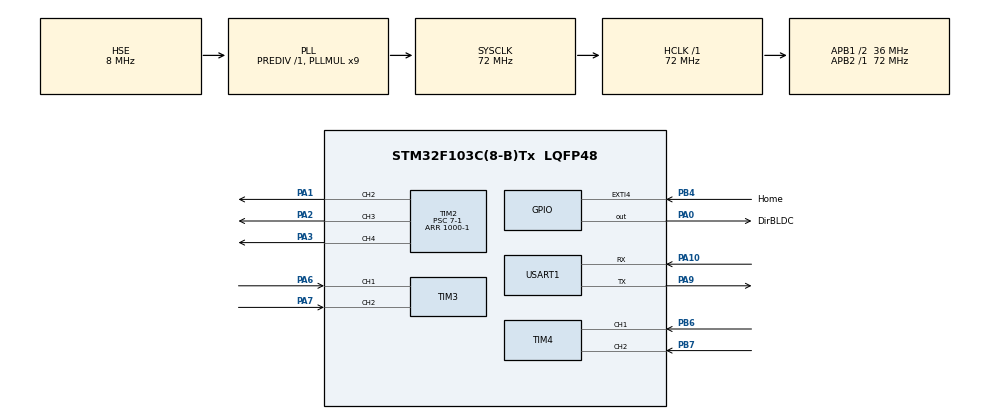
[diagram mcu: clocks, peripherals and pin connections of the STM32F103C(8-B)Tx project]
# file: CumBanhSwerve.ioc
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Dma.Request0=USART1_RX
Dma.USART1_RX.0.Direction=DMA_PERIPH_TO_MEMORY
Dma.USART1_RX.0.Instance=DMA1_Channel5
Dma.USART1_RX.0.MemDataAlignment=DMA_MDATAALIGN_BYTE
Dma.USART1_RX.0.MemInc=DMA_MINC_ENABLE
Dma.USART1_RX.0.Mode=DMA_NORMAL
Dma.USART1_RX.0.PeriphDataAlignment=DMA_PDATAALIGN_BYTE
Dma.USART1_RX.0.PeriphInc=DMA_PINC_DISABLE
Dma.USART1_RX.0.Priority=DMA_PRIORITY_LOW
FREERTOS.Tasks01=CalPIDDC,1,128,StartCalPIDDC,Default,NULL,Dynamic,NULL,NULL;CalPIDBLDC,-1,128,StartCalPIDBLDC,Default,NULL,Dynamic,NULL,NULL;LogicControl,0,128,StartLogicControl,Default,NULL,Dynamic,NULL,NULL
Mcu.Family=STM32F1
Mcu.Name=STM32F103C(8-B)Tx
Mcu.Package=LQFP48
NVIC.DMA1_Channel5_IRQn=true\:5\:0\:false\:false\:true\:true\:false\:true\:true
NVIC.EXTI4_IRQn=true\:5\:0\:false\:false\:true\:false\:true\:true\:true
NVIC.PriorityGroup=NVIC_PRIORITYGROUP_4
NVIC.TIM1_UP_IRQn=true\:15\:0\:false\:false\:true\:false\:true\:true\:true
NVIC.TimeBase=TIM1_UP_IRQn
NVIC.TimeBaseIP=TIM1
NVIC.USART1_IRQn=true\:5\:0\:false\:false\:true\:true\:true\:true\:true
PA0-WKUP.GPIO_Label=DirBLDC
PA0-WKUP.Signal=GPIO_Output
PA1.Signal=S_TIM2_CH2
PA10.Mode=Asynchronous
PA10.Signal=USART1_RX
PA13.Mode=Serial_Wire
PA13.Signal=SYS_JTMS-SWDIO
PA14.Mode=Serial_Wire
PA14.Signal=SYS_JTCK-SWCLK
PA2.Signal=S_TIM2_CH3
PA3.Signal=S_TIM2_CH4
PA6.Signal=S_TIM3_CH1
PA7.Signal=S_TIM3_CH2
PA9.Mode=Asynchronous
PA9.Signal=USART1_TX
PB4.GPIO_Label=Home
PB4.GPIO_ModeDefaultEXTI=GPIO_MODE_IT_RISING
PB4.GPIO_PuPd=GPIO_PULLUP
PB4.Signal=GPXTI4
PB6.Signal=S_TIM4_CH1
PB7.Signal=S_TIM4_CH2
PD0-OSC_IN.Mode=HSE-External-Oscillator
PD0-OSC_IN.Signal=RCC_OSC_IN
PD1-OSC_OUT.Mode=HSE-External-Oscillator
PD1-OSC_OUT.Signal=RCC_OSC_OUT
ProjectManager.HeapSize=0x200
ProjectManager.StackSize=0x400
ProjectManager.TargetToolchain=STM32CubeIDE
RCC.AHBFreq_Value=72000000
RCC.APB1CLKDivider=RCC_HCLK_DIV2
RCC.APB1Freq_Value=36000000
RCC.APB1TimFreq_Value=72000000
RCC.APB2Freq_Value=72000000
RCC.APB2TimFreq_Value=72000000
RCC.HCLKFreq_Value=72000000
RCC.PLLMUL=RCC_PLL_MUL9
RCC.PLLSourceVirtual=RCC_PLLSOURCE_HSE
RCC.SYSCLKFreq_VALUE=72000000
RCC.SYSCLKSource=RCC_SYSCLKSOURCE_PLLCLK
RCC.USBFreq_Value=72000000
SH.S_TIM2_CH2.0=TIM2_CH2,PWM Generation2 CH2
SH.S_TIM2_CH3.0=TIM2_CH3,PWM Generation3 CH3
SH.S_TIM2_CH4.0=TIM2_CH4,PWM Generation4 CH4
SH.S_TIM3_CH1.0=TIM3_CH1,Encoder_Interface
SH.S_TIM3_CH2.0=TIM3_CH2,Encoder_Interface
SH.S_TIM4_CH1.0=TIM4_CH1,Encoder_Interface
SH.S_TIM4_CH2.0=TIM4_CH2,Encoder_Interface
TIM2.Channel-PWM\ Generation2\ CH2=TIM_CHANNEL_2
TIM2.Channel-PWM\ Generation3\ CH3=TIM_CHANNEL_3
TIM2.Channel-PWM\ Generation4\ CH4=TIM_CHANNEL_4
TIM2.Period=1000-1
TIM2.Prescaler=7-1
TIM3.EncoderMode=TIM_ENCODERMODE_TI12
TIM4.EncoderMode=TIM_ENCODERMODE_TI12
USART1.VirtualMode=VM_ASYNC
VP_FREERTOS_VS_CMSIS_V1.Mode=CMSIS_V1
VP_SYS_VS_tim1.Mode=TIM1
board=custom

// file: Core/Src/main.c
/* USER CODE BEGIN Header */
/**
  ******************************************************************************
  * @file           : main.c
  * @brief          : Main program body
  ******************************************************************************
  * @attention
  *
  * Copyright (c) 2023 STMicroelectronics.
  * All rights reserved.
  *
  * This software is licensed under terms that can be found in the LICENSE file
  * in the root directory of this software component.
  * If no LICENSE file comes with this software, it is provided AS-IS.
  *
  ******************************************************************************
  */
/* USER CODE END Header */
#include "main.h"
#include "cmsis_os.h"

/* USER CODE BEGIN Includes */
#include "stdlib.h"
#include "PID.h"
#include "string.h"
/* USER CODE END Includes */

/* USER CODE BEGIN PM */
/*-----------------------------Begin:General Macro----------------------------*/
#define _SecondsPerMin 60
/*-----------------------------End:General Macro------------------------------*/

/*-----------------------------Begin:Initial Macro----------------------------*/
#define AtHome 0
#define NotAtHome 1
#define IntialFindingSpeed 20
#define AccurateFindingSpeed 2
#define FindingDegreeAboveLimit 180
#define FindingDegreeBelowLimit -180
#define AccurateFindingDegreeAboveLimit 10
#define AccurateFindingDegreeBelowLimit -10
#define IntialState 0
#define IntialStopAndResetState 1
#define AccurateFindingState 2
#define	AccurateStopAndResetState 3
#define EndState 4
/*-----------------------------End:Initial Macro------------------------------*/

/*---------------------------------------------------------------------------------------------------------------------------------------------*/

/*-----------------------------Begin:PID BLDC Macro---------------------------*/
#define BLDCProportion 0.2
#define BLDCIntegral 10
#define BLDCDerivative	0
#define BLDCAlpha 0
#define BLDCDeltaT 0.001
#define BLDCClockWise 1
#define BLDCCounterClockWise 0
#define BLDCIntegralAboveLimit 1000
#define BLDCIntegralBelowLimit -1000
#define BLDCSumAboveLimit 1000
#define BLDCSumBelowLimit -1000
#define _BLDCEncoderPerRound 200
#define _BLDCGearRatio 	2.5

double target_BLDC_Speed;
/*-----------------------------End:PID BLDC Macro-----------------------------*/

/*-----------------------------Begin:PID DC Macro(SPEED)----------------------*/
#define DCProportion 20
#define DCIntegral 500
#define DCDerivative 0
#define DCAlpha 0
#define POS 0.001
#define DCDeltaT 0.001
#define DCClockWise -1
#define DCStop 0
#define DCCounterClockWise 1
#define DCIntegralAboveLimit 1000
#define DCIntegralBelowLimit -1000
#define DCSumAboveLimit 1000
#define DCSumBelowLimit -1000
#define _DCEncoderPerRound 68000

double target_DC_SPEED;
/*-----------------------------End:PID DC Macro(SPEED)------------------------*/

/*-----------------------------Begin:PID DC Macro(POS)------------------------*/
#define DCProportionPOS 5
#define DCIntegralPOS 0
#define DCDerivativePOS 0
#define DCAlphaPOS 0
#define DCDeltaTPOS 0.001
#define DCIntegralAboveLimitPOS 1000
#define DCIntegralBelowLimitPOS -1000
#define DCSumAboveLimitPOS 1000
#define DCSumBelowLimitPOS -1000
#define FilterAlpha 0

double target_DC_POS;
/*-----------------------------End:PID DC Macro(POS)--------------------------*/

uint8_t SlaveBuff[10];

/*---------------------------------------------------------------------------------------------------------------------------------------------*/
/* USER CODE END PM */

TIM_HandleTypeDef htim2;
TIM_HandleTypeDef htim3;
TIM_HandleTypeDef htim4;

UART_HandleTypeDef huart1;
DMA_HandleTypeDef hdma_usart1_rx;

osThreadId CalPIDDCHandle;
osThreadId CalPIDBLDCHandle;
osThreadId LogicControlHandle;
/* USER CODE BEGIN PV */
/*---------------------------------------------------------------------------------------------------------------------------------------------*/

/*-----------------------------Begin:Home Variables----------------------------*/

uint8_t HomeStatus;
uint8_t RunStatus;
uint8_t IntialSpeed;
uint8_t HomeFound;
uint8_t Testcommand;
int TestComand2;

/*-----------------------------End:Home Variables------------------------------*/

/*-----------------------------Begin:Encoder Read Variables--------------------*/

int8_t RotateStatus = 1;

/*-----------------------------End:Encoder Read Variables----------------------*/

/*---------------------------------------------------------------------------------------------------------------------------------------------*/

PID_Param PID_BLDC;
PID_Param PID_DC_SPEED;
PID_Param PID_DC_POS;

EncoderRead ENC_BLDC;
EncoderRead ENC_DC;

MotorDrive BLDC;
MotorDrive DC;

/* USER CODE END PV */

void SystemClock_Config(void);
static void MX_GPIO_Init(void);
static void MX_DMA_Init(void);
static void MX_TIM2_Init(void);
static void MX_TIM3_Init(void);
static void MX_TIM4_Init(void);
static void MX_USART1_UART_Init(void);
void StartCalPIDDC(void const * argument);
void StartCalPIDBLDC(void const * argument);
void StartLogicControl(void const * argument);

/* USER CODE BEGIN 0 */

//-----------------------------------------------------------------------------------------------------------------//
//----------------------------------------------------BEGIN: PID MOTOR---------------------------------------------//
//-----------------------------------------------------------------------------------------------------------------//
void PIDBLDC(void)
{
	//Calculate the speed of BLD
	SpeedReadOnly(&ENC_BLDC);
	//Calculate PID of BLDC
	Pid_Cal(&PID_BLDC,target_BLDC_Speed,ENC_BLDC.vel_Real);
	//Drive Motor
	BLDC_Drive_RedBoard(&BLDC,&htim2,PID_BLDC.u,TIM_CHANNEL_2);
}

void PIDDCSpeed(void)
{
	//Calculate velocity of DC Servo:
	SpeedReadNonReset(&ENC_DC);
	//Calculate PID of DC speed:
	Pid_Cal(&PID_DC_SPEED,target_DC_SPEED,ENC_DC.vel_Real);
	//Drive Motor
	DC_Drive_BTS(&DC,&htim2,motor_Reserve,PID_DC_SPEED.u,TIM_CHANNEL_3,TIM_CHANNEL_4);

}

void PIDDCPos(){
	//Calculate the Pos of DC Servo:
	Pid_Cal(&PID_DC_POS,target_DC_POS,CountRead(&ENC_DC,count_ModeDegree));
	//Control the Speed PID:
	target_DC_SPEED = PID_DC_POS.u;
	PIDDCSpeed();

}

//-----------------------------------------------------------------------------------------------------------------//
//----------------------------------------------------END: PID MOTOR-----------------------------------------------//
//-----------------------------------------------------------------------------------------------------------------//

/*---------------------------------------------------------------------------------------------------------------------------------------------*/

//-----------------------------------------------------------------------------------------------------------------//
//----------------------------------------------------BEGIN: RESET MOTOR-------------------------------------------//
//-----------------------------------------------------------------------------------------------------------------//

void SetAndResetU2parameter(uint8_t command){
	if(!command){
		PID_DC_SPEED.uI_AboveLimit=0;
		PID_DC_SPEED.uI_BelowLimit=0;
		PID_DC_SPEED.u_AboveLimit=0;
		PID_DC_SPEED.u_BelowLimit=0;
		ENC_DC.vel_Pre = 0;
		ENC_DC.vel_Real = 0;
	}else{
		PID_DC_SPEED.uI_AboveLimit = DCIntegralAboveLimit;
		PID_DC_SPEED.uI_BelowLimit = DCIntegralBelowLimit;
		PID_DC_SPEED.u_AboveLimit = DCSumAboveLimit;
		PID_DC_SPEED.u_BelowLimit = DCSumBelowLimit;
	}
}

//-----------------------------------------------------------------------------------------------------------------//
//----------------------------------------------------END: RESET MOTOR---------------------------------------------//
//-----------------------------------------------------------------------------------------------------------------//

//-----------------------------------------------------------------------------------------------------------------//
//----------------------------------------------------BEGIN: Home Finding------------------------------------------//
//-----------------------------------------------------------------------------------------------------------------//

void HomeFinding(){
//  // Reading home sensor if the  wheel at home or not
//  // if at home the wheel won't run and set the initial Degree to 0
//  // if not the wheel will find home
  if(HAL_GPIO_ReadPin(Home_GPIO_Port, Home_Pin)== AtHome){
	osDelay(1);
	if(HAL_GPIO_ReadPin(Home_GPIO_Port, Home_Pin)== AtHome){
		HomeStatus = 1;
		if((RunStatus == IntialState)||(RunStatus == AccurateFindingState)){
			target_DC_POS = CountRead(&ENC_DC,count_ModeDegree);
			RunStatus++;
		}
	  }
	}

  // At this State the Wheel will find its home at high speed
  // And will reserve when it reach the Degree limits not to break the wires
  if(RunStatus == IntialState){
	if(CountRead(&ENC_DC,count_ModeDegree) > FindingDegreeAboveLimit){
		RotateStatus = DCClockWise;
	}else if(CountRead(&ENC_DC,count_ModeDegree)< FindingDegreeBelowLimit){
		RotateStatus = DCCounterClockWise;
	}
	target_DC_SPEED = IntialFindingSpeed*RotateStatus;
  }

 //At this State the Wheel will stop and Reset to 0 Degree
if((RunStatus == IntialStopAndResetState)||(RunStatus == AccurateStopAndResetState)){
	osDelay(500);
	SetAndResetU2parameter(0);
	ResetCount(&ENC_DC,1);
	target_DC_POS = 0;
	osDelay(10);
	ResetCount(&ENC_DC,0);
	SetAndResetU2parameter(1);
	RunStatus += 1;
}

//At this State the wheel will run at low speed to find its home
//And also reserve when its reach the degree limits
if ((RunStatus == AccurateFindingState)&&(HAL_GPIO_ReadPin(Home_GPIO_Port, Home_Pin) == NotAtHome)){
	if(CountRead(&ENC_DC,count_ModeDegree) < AccurateFindingDegreeBelowLimit){
		RotateStatus = DCCounterClockWise;
	}else if(CountRead(&ENC_DC,count_ModeDegree) > AccurateFindingDegreeAboveLimit){
		RotateStatus = DCClockWise;
	}
	target_DC_SPEED = AccurateFindingSpeed*RotateStatus;
	}
//End Home Finding
if (RunStatus == EndState){
	HomeFound = 1;
}
}

//-----------------------------------------------------------------------------------------------------------------//
//----------------------------------------------------END: Home Finding--------------------------------------------//
//-----------------------------------------------------------------------------------------------------------------//
uint8_t *pByte = NULL;

#define ID 1
uint8_t Mode;
float SpeedBLDC;
float DCDegree;
void SolveMainTask(uint8_t* dataArray){
	uint8_t *pFloat=NULL;
	if (dataArray[0] == ID)
	{
		pFloat = &Mode;
		*(pFloat)=dataArray[1];
		pFloat = &SpeedBLDC;
		for(uint8_t i = 2; i < 6;i++)
		{
			*(pFloat+i-2)=dataArray[i];
		}
		pFloat = &DCDegree;
		for(uint8_t i = 6; i < 10;i++)
		{
			*(pFloat+i-6)=dataArray[i];
		}
	}else if(dataArray[10] == ID)
	{
		pFloat = &Mode;
		*(pFloat)=dataArray[11];
		pFloat = &SpeedBLDC;
		for(uint8_t i = 12; i < 16;i++)
		{
		*(pFloat+i-12)=dataArray[i];
		}
		pFloat = &DCDegree;
		for(uint8_t i = 16; i < 20;i++)
		{
		*(pFloat+i-16)=dataArray[i];
		}
	}

}

//void HAL_UART_RxCpltCallback(UART_HandleTypeDef *huart)
//{
//  HAL_UART_Receive_IT(&huart1, SlaveBuff, 10);
//  MergeByteToFloat(SlaveBuff);
//}
#define RXBUFFSIZE	21

uint8_t RxBuf[RXBUFFSIZE];
uint8_t UartFlag;
void HAL_UARTEx_RxEventCallback(UART_HandleTypeDef *huart, uint16_t Size)
{
	if(huart -> Instance == USART1)
	{
		HAL_UARTEx_ReceiveToIdle_DMA(&huart1, RxBuf, RXBUFFSIZE);
		if (RxBuf[20]==13)
		{

			SolveMainTask(RxBuf);
			memset(RxBuf,0,Size);
		}
		  __HAL_DMA_DISABLE_IT(&hdma_usart1_rx,DMA_IT_HT);
	}
}

/* USER CODE END 0 */

int main(void)
{

  /* MCU Configuration--------------------------------------------------------*/

  /* Reset of all peripherals, Initializes the Flash interface and the Systick. */
  HAL_Init();

  /* Configure the system clock */
  SystemClock_Config();

  /* Initialize all configured peripherals */
  MX_GPIO_Init();
  MX_DMA_Init();
  MX_TIM2_Init();
  MX_TIM3_Init();
  MX_TIM4_Init();
  MX_USART1_UART_Init();
  /* USER CODE BEGIN 2 */
  HAL_TIM_PWM_Start(&htim2,TIM_CHANNEL_2);
  HAL_TIM_PWM_Start(&htim2,TIM_CHANNEL_3);
  HAL_TIM_PWM_Start(&htim2,TIM_CHANNEL_4);
  HAL_TIM_Encoder_Start_IT(&htim4, TIM_CHANNEL_ALL);
  HAL_TIM_Encoder_Start_IT(&htim3, TIM_CHANNEL_ALL);
//  HAL_TIM_Base_Start_IT(&htim1);
  HAL_Delay(1000);
  //Set intial Speed of both Motor as 0 RPM

  EncoderSetting(&ENC_BLDC,&htim4,_BLDCEncoderPerRound*_BLDCGearRatio,BLDCDeltaT);
  EncoderSetting(&ENC_DC,&htim3,_DCEncoderPerRound,DCDeltaT);

  Pid_SetParam(&PID_BLDC,BLDCProportion,BLDCIntegral,BLDCDerivative,BLDCAlpha,BLDCDeltaT,BLDCIntegralAboveLimit,BLDCIntegralBelowLimit,BLDCSumAboveLimit,BLDCSumBelowLimit);
  Pid_SetParam(&PID_DC_SPEED,DCProportion,DCIntegral,DCDerivative,DCAlpha,DCDeltaT,DCIntegralAboveLimit,DCIntegralBelowLimit,DCSumAboveLimit,DCSumBelowLimit);
  Pid_SetParam(&PID_DC_POS,DCProportionPOS,DCIntegralPOS,DCDerivativePOS,DCAlphaPOS,DCDeltaTPOS,DCIntegralAboveLimitPOS,DCIntegralBelowLimitPOS,DCSumAboveLimitPOS,DCSumBelowLimitPOS);

  HAL_UARTEx_ReceiveToIdle_DMA(&huart1, RxBuf, RXBUFFSIZE);
  __HAL_DMA_DISABLE_IT(&hdma_usart1_rx,DMA_IT_HT);
  /* USER CODE END 2 */

  /* Create the thread(s) */
  /* definition and creation of CalPIDDC */
  osThreadDef(CalPIDDC, StartCalPIDDC, osPriorityAboveNormal, 0, 128);
  CalPIDDCHandle = osThreadCreate(osThread(CalPIDDC), NULL);

  /* definition and creation of CalPIDBLDC */
  osThreadDef(CalPIDBLDC, StartCalPIDBLDC, osPriorityBelowNormal, 0, 128);
  CalPIDBLDCHandle = osThreadCreate(osThread(CalPIDBLDC), NULL);

  /* definition and creation of LogicControl */
  osThreadDef(LogicControl, StartLogicControl, osPriorityNormal, 0, 128);
  LogicControlHandle = osThreadCreate(osThread(LogicControl), NULL);

  /* Start scheduler */
  osKernelStart();

  /* We should never get here as control is now taken by the scheduler */
  /* Infinite loop */
  while (1)
  {

  }
}

void SystemClock_Config(void)
{
  RCC_OscInitTypeDef RCC_OscInitStruct = {0};
  RCC_ClkInitTypeDef RCC_ClkInitStruct = {0};

  /** Initializes the RCC Oscillators according to the specified parameters
  * in the RCC_OscInitTypeDef structure.
  */
  RCC_OscInitStruct.OscillatorType = RCC_OSCILLATORTYPE_HSE;
  RCC_OscInitStruct.HSEState = RCC_HSE_ON;
  RCC_OscInitStruct.HSEPredivValue = RCC_HSE_PREDIV_DIV1;
  RCC_OscInitStruct.HSIState = RCC_HSI_ON;
  RCC_OscInitStruct.PLL.PLLState = RCC_PLL_ON;
  RCC_OscInitStruct.PLL.PLLSource = RCC_PLLSOURCE_HSE;
  RCC_OscInitStruct.PLL.PLLMUL = RCC_PLL_MUL9;
  if (HAL_RCC_OscConfig(&RCC_OscInitStruct) != HAL_OK)
  {
    Error_Handler();
  }

  /** Initializes the CPU, AHB and APB buses clocks
  */
  RCC_ClkInitStruct.ClockType = RCC_CLOCKTYPE_HCLK|RCC_CLOCKTYPE_SYSCLK
                              |RCC_CLOCKTYPE_PCLK1|RCC_CLOCKTYPE_PCLK2;
  RCC_ClkInitStruct.SYSCLKSource = RCC_SYSCLKSOURCE_PLLCLK;
  RCC_ClkInitStruct.AHBCLKDivider = RCC_SYSCLK_DIV1;
  RCC_ClkInitStruct.APB1CLKDivider = RCC_HCLK_DIV2;
  RCC_ClkInitStruct.APB2CLKDivider = RCC_HCLK_DIV1;

  if (HAL_RCC_ClockConfig(&RCC_ClkInitStruct, FLASH_LATENCY_2) != HAL_OK)
  {
    Error_Handler();
  }
}

static void MX_TIM2_Init(void)
{

  TIM_MasterConfigTypeDef sMasterConfig = {0};
  TIM_OC_InitTypeDef sConfigOC = {0};

  htim2.Instance = TIM2;
  htim2.Init.Prescaler = 7-1;
  htim2.Init.CounterMode = TIM_COUNTERMODE_UP;
  htim2.Init.Period = 1000-1;
  htim2.Init.ClockDivision = TIM_CLOCKDIVISION_DIV1;
  htim2.Init.AutoReloadPreload = TIM_AUTORELOAD_PRELOAD_DISABLE;
  if (HAL_TIM_PWM_Init(&htim2) != HAL_OK)
  {
    Error_Handler();
  }
  sMasterConfig.MasterOutputTrigger = TIM_TRGO_RESET;
  sMasterConfig.MasterSlaveMode = TIM_MASTERSLAVEMODE_DISABLE;
  if (HAL_TIMEx_MasterConfigSynchronization(&htim2, &sMasterConfig) != HAL_OK)
  {
    Error_Handler();
  }
  sConfigOC.OCMode = TIM_OCMODE_PWM1;
  sConfigOC.Pulse = 0;
  sConfigOC.OCPolarity = TIM_OCPOLARITY_HIGH;
  sConfigOC.OCFastMode = TIM_OCFAST_DISABLE;
  if (HAL_TIM_PWM_ConfigChannel(&htim2, &sConfigOC, TIM_CHANNEL_2) != HAL_OK)
  {
    Error_Handler();
  }
  if (HAL_TIM_PWM_ConfigChannel(&htim2, &sConfigOC, TIM_CHANNEL_3) != HAL_OK)
  {
    Error_Handler();
  }
  if (HAL_TIM_PWM_ConfigChannel(&htim2, &sConfigOC, TIM_CHANNEL_4) != HAL_OK)
  {
    Error_Handler();
  }
  HAL_TIM_MspPostInit(&htim2);

}

static void MX_TIM3_Init(void)
{

  TIM_Encoder_InitTypeDef sConfig = {0};
  TIM_MasterConfigTypeDef sMasterConfig = {0};

  htim3.Instance = TIM3;
  htim3.Init.Prescaler = 0;
  htim3.Init.CounterMode = TIM_COUNTERMODE_UP;
  htim3.Init.Period = 65535;
  htim3.Init.ClockDivision = TIM_CLOCKDIVISION_DIV1;
  htim3.Init.AutoReloadPreload = TIM_AUTORELOAD_PRELOAD_DISABLE;
  sConfig.EncoderMode = TIM_ENCODERMODE_TI12;
  sConfig.IC1Polarity = TIM_ICPOLARITY_RISING;
  sConfig.IC1Selection = TIM_ICSELECTION_DIRECTTI;
  sConfig.IC1Prescaler = TIM_ICPSC_DIV1;
  sConfig.IC1Filter = 0;
  sConfig.IC2Polarity = TIM_ICPOLARITY_RISING;
  sConfig.IC2Selection = TIM_ICSELECTION_DIRECTTI;
  sConfig.IC2Prescaler = TIM_ICPSC_DIV1;
  sConfig.IC2Filter = 0;
  if (HAL_TIM_Encoder_Init(&htim3, &sConfig) != HAL_OK)
  {
    Error_Handler();
  }
  sMasterConfig.MasterOutputTrigger = TIM_TRGO_RESET;
  sMasterConfig.MasterSlaveMode = TIM_MASTERSLAVEMODE_DISABLE;
  if (HAL_TIMEx_MasterConfigSynchronization(&htim3, &sMasterConfig) != HAL_OK)
  {
    Error_Handler();
  }

}

static void MX_TIM4_Init(void)
{

  TIM_Encoder_InitTypeDef sConfig = {0};
  TIM_MasterConfigTypeDef sMasterConfig = {0};

  htim4.Instance = TIM4;
  htim4.Init.Prescaler = 0;
  htim4.Init.CounterMode = TIM_COUNTERMODE_UP;
  htim4.Init.Period = 65535;
  htim4.Init.ClockDivision = TIM_CLOCKDIVISION_DIV1;
  htim4.Init.AutoReloadPreload = TIM_AUTORELOAD_PRELOAD_DISABLE;
  sConfig.EncoderMode = TIM_ENCODERMODE_TI12;
  sConfig.IC1Polarity = TIM_ICPOLARITY_RISING;
  sConfig.IC1Selection = TIM_ICSELECTION_DIRECTTI;
  sConfig.IC1Prescaler = TIM_ICPSC_DIV1;
  sConfig.IC1Filter = 0;
  sConfig.IC2Polarity = TIM_ICPOLARITY_RISING;
  sConfig.IC2Selection = TIM_ICSELECTION_DIRECTTI;
  sConfig.IC2Prescaler = TIM_ICPSC_DIV1;
  sConfig.IC2Filter = 0;
  if (HAL_TIM_Encoder_Init(&htim4, &sConfig) != HAL_OK)
  {
    Error_Handler();
  }
  sMasterConfig.MasterOutputTrigger = TIM_TRGO_RESET;
  sMasterConfig.MasterSlaveMode = TIM_MASTERSLAVEMODE_DISABLE;
  if (HAL_TIMEx_MasterConfigSynchronization(&htim4, &sMasterConfig) != HAL_OK)
  {
    Error_Handler();
  }

}

static void MX_USART1_UART_Init(void)
{

  huart1.Instance = USART1;
  huart1.Init.BaudRate = 115200;
  huart1.Init.WordLength = UART_WORDLENGTH_8B;
  huart1.Init.StopBits = UART_STOPBITS_1;
  huart1.Init.Parity = UART_PARITY_NONE;
  huart1.Init.Mode = UART_MODE_TX_RX;
  huart1.Init.HwFlowCtl = UART_HWCONTROL_NONE;
  huart1.Init.OverSampling = UART_OVERSAMPLING_16;
  if (HAL_UART_Init(&huart1) != HAL_OK)
  {
    Error_Handler();
  }

}

static void MX_DMA_Init(void)
{

  /* DMA controller clock enable */
  __HAL_RCC_DMA1_CLK_ENABLE();

  /* DMA interrupt init */
  /* DMA1_Channel5_IRQn interrupt configuration */
  HAL_NVIC_SetPriority(DMA1_Channel5_IRQn, 5, 0);
  HAL_NVIC_EnableIRQ(DMA1_Channel5_IRQn);

}

static void MX_GPIO_Init(void)
{
  GPIO_InitTypeDef GPIO_InitStruct = {0};

  /* GPIO Ports Clock Enable */
  __HAL_RCC_GPIOD_CLK_ENABLE();
  __HAL_RCC_GPIOA_CLK_ENABLE();
  __HAL_RCC_GPIOB_CLK_ENABLE();

  /*Configure GPIO pin Output Level */
  HAL_GPIO_WritePin(DirBLDC_GPIO_Port, DirBLDC_Pin, GPIO_PIN_RESET);

  /*Configure GPIO pin : DirBLDC_Pin */
  GPIO_InitStruct.Pin = DirBLDC_Pin;
  GPIO_InitStruct.Mode = GPIO_MODE_OUTPUT_PP;
  GPIO_InitStruct.Pull = GPIO_NOPULL;
  GPIO_InitStruct.Speed = GPIO_SPEED_FREQ_LOW;
  HAL_GPIO_Init(DirBLDC_GPIO_Port, &GPIO_InitStruct);

  /*Configure GPIO pin : Home_Pin */
  GPIO_InitStruct.Pin = Home_Pin;
  GPIO_InitStruct.Mode = GPIO_MODE_IT_RISING;
  GPIO_InitStruct.Pull = GPIO_PULLUP;
  HAL_GPIO_Init(Home_GPIO_Port, &GPIO_InitStruct);

  /* EXTI interrupt init*/
  HAL_NVIC_SetPriority(EXTI4_IRQn, 5, 0);
  HAL_NVIC_EnableIRQ(EXTI4_IRQn);

}

void StartCalPIDDC(void const * argument)
{
  /* USER CODE BEGIN 5 */
  /* Infinite loop */
  for(;;)
  {

	if((HomeStatus)&&(RunStatus != AccurateFindingState)){
		PIDDCPos();
	}
	else{
		PIDDCSpeed();
	}

	osDelay(1);

  }
  /* USER CODE END 5 */
}

/* USER CODE BEGIN Header_StartCalPIDBLDC */
/**
* @brief Function implementing the CalPIDBLDC thread.
* @param argument: Not used
* @retval None
*/
int AntiProtection;
double PreviousTarget = 0;
/* USER CODE END Header_StartCalPIDBLDC */
void StartCalPIDBLDC(void const * argument)
{
  /* USER CODE BEGIN StartCalPIDBLDC */
  /* Infinite loop */
  for(;;)
  {
	if(Mode == 2){
		PID_BLDC.uI = 0;
		PID_BLDC.uI_Pre = 0;
		PID_BLDC.u = 0;
		BLDC_Drive_RedBoard(&BLDC,&htim2,0,TIM_CHANNEL_2);
		osDelay(100);
//		Mode = 0;
	}else{
		PIDBLDC();
	}
//	  BLDC_Drive_RedBoard(&BLDC,&htim2,1000,TIM_CHANNEL_2);
	osDelay(1);
  }
  /* USER CODE END StartCalPIDBLDC */
}

/* USER CODE BEGIN Header_StartLogicControl */
/**
* @brief Function implementing the LogicControl thread.
* @param argument: Not used
* @retval None
*/

//int TestDegree[] = {90,180,50,0,60,0,-90,10};
//int TestSpeed[] = {100,0,120,200,100,200,100,0};
int Test;

/* USER CODE END Header_StartLogicControl */
void StartLogicControl(void const * argument)
{
  /* USER CODE BEGIN StartLogicControl */
  /* Infinite loop */
  for(;;)
  {
	if(HomeFound == 0)
	{
		HomeFinding();
	}
	else
	{
		target_BLDC_Speed = SpeedBLDC;
		target_DC_POS = DCDegree;
	}
    osDelay(1);
  }

  /* USER CODE END StartLogicControl */
}

void HAL_TIM_PeriodElapsedCallback(TIM_HandleTypeDef *htim)
{
  if (htim->Instance == TIM1) {
    HAL_IncTick();
  }
}

void Error_Handler(void)
{
  __disable_irq();
  while (1)
  {
  }
}
